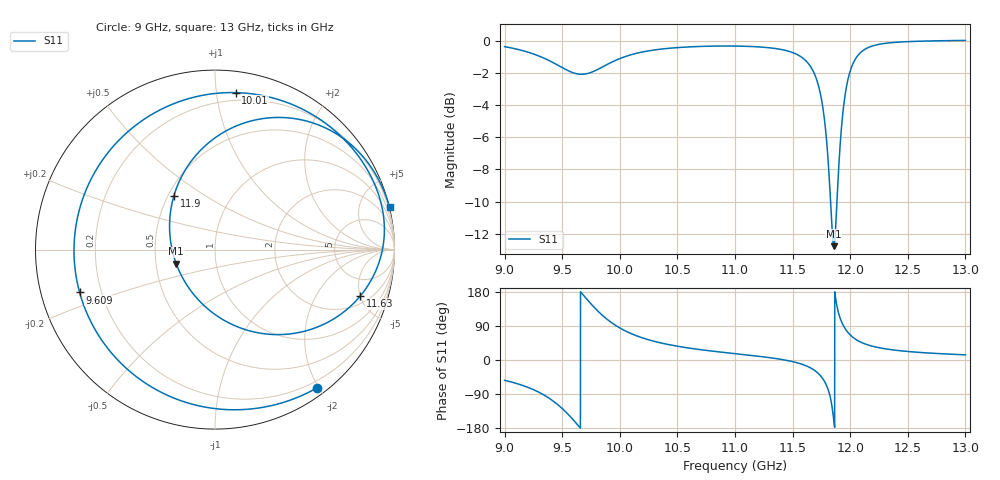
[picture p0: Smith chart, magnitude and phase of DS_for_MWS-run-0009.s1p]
! TOUCHSTONE file generated by CST DESIGN STUDIO
! Date and time: Tue Feb  4 15:52:10 2025
! Project name: C:\Work\MatlabApps\UnitCellOptimizationMatlab\CST\unitcell.cst
! Tree item: Tasks\Sweep1\SPara1\S-Parameters
! Header version: 2024
! Port assignment regex: !\s*Touchstone port\s*([0-9]+)\s*=\s*(CST MWS port|CST DES external port|CST DES block port)\s*(.+)\s* \(\"(.*)\"\)(\s*mode\s*([0-9]+))?.*
! Touchstone port assignment:
! Touchstone port 1 = CST DES external port 1 ("")
# GHz S MA R 50
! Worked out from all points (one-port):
!   4001 points, 9 GHz to 13 GHz, reference 50 ohm
!   lowest |S11| = -12.8 dB at 11.86 GHz (marker M1), VSWR 1.60, Z = 31.9 - j5.26 ohm
!   |S11| at or under -10 dB: 11.82951 GHz to 11.88502 GHz (55.51 MHz wide, 0.468 % of centre)
!   S11 on the Smith chart (normalised r, x): 9 GHz: 0.11, -1.97; 9.609 GHz: 0.12, -0.15; 10.01 GHz: 0.14, +1.13; 11.63 GHz: 2.70, -5.02; 11.9 GHz: 0.54, +0.38; 13 GHz: -0.02, +8.38
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9  0.9573 -53.6
9.168  0.9278 -68.4
9.32  0.8885 -88.7
9.417  0.8552 -107.3
9.5  0.8238 -128.1
9.609  0.7911 -162.5
9.704  0.7876 163.9
9.814  0.8152 127.8
9.9  0.8462 104.9
10  0.8789 84.5
10.012  0.8823 82.5
10.223  0.9253 55.8
10.5  0.9506 36.4
11  0.9611 16.7
11.5  0.9176 -4.3
11.635  0.8499 -17.7
11.715  0.7441 -33.3
11.781  0.5506 -58.7
11.82  0.3645 -89.4
11.858  0.2298 -160.1
11.896  0.3779 127.2
11.944  0.6304 89.0
12  0.8038 66.2
12.073  0.9045 50.0
12.167  0.9545 38.5
12.3  0.9796 29.7
12.5  0.992 22.5
13  1 13.6
